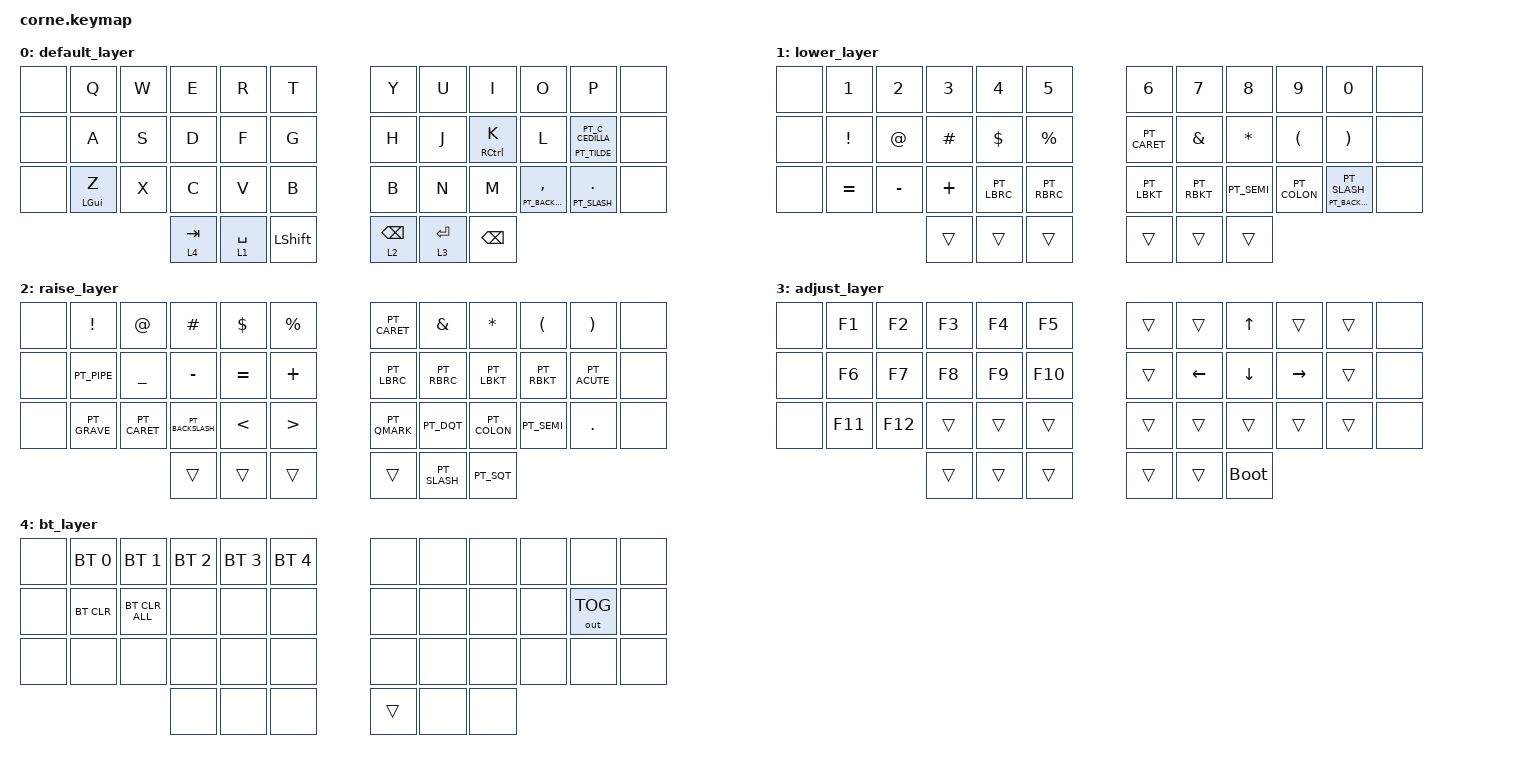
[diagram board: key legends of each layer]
/*
 * Copyright (c) 2020 The ZMK Contributors
 * SPDX-License-Identifier: MIT
 *
 * CORNE / SKELETYL — PT-BR ABNT2 KEYMAP
 *
 * Physical layout : 3×5+3 split, 42 keys
 * OS layout       : PT-BR ABNT2  (must be selected in OS settings)
 *
 * ┌──────────────────────────────────────────────────────────────┐
 * │  Layer map                                                   │
 * │    0  Base   QWERTY · home-row mods · ç on right pinky      │
 * │    1  Num    numbers · shifted symbols · { } [ ]            │
 * │    2  Sym    operators · PT-BR dead keys                     │
 * │    3  Fn     F1-F12 · arrows · bootloader                    │
 * │    4  BT     Bluetooth select · output toggle                │
 * ├──────────────────────────────────────────────────────────────┤
 * │  PT-BR dead keys  (Sym layer = hold BKSP)                    │
 * │    ]  position  →  ´ dead acute     á é í ó ú              │
 * │    `  position  →  ` dead grave     à                       │
 * │    ~  position  →  ^ dead circ      â ê ô                   │
 * │    Ç  hold      →  ~ dead tilde     ã õ   (base layer)      │
 * ├──────────────────────────────────────────────────────────────┤
 * │  Key grid (combo position reference)                         │
 * │   Row 0:  Q=1  W=2  E=3  R=4  T=5    Y=6  U=7  I=8  O=9  P=10  │
 * │   Row 1:  A=13 S=14 D=15 F=16 G=17   H=18 J=19 K=20 L=21 Ç=22  │
 * │   Row 2:  Z=25 X=26 C=27 V=28 B=29   B=30 N=31 M=32 ,=33 .=34  │
 * │   Thumb:  TAB=36 SPC=37 SFT=38        BSP=39 ENT=40 BSP=41      │
 * └──────────────────────────────────────────────────────────────┘
 */

#include <behaviors.dtsi>
#include <dt-bindings/zmk/bt.h>
#include <dt-bindings/zmk/keys.h>
#include <dt-bindings/zmk/outputs.h>
#include "keys_pt_abnt2.h"

/ {
    /* ─────────────────────────────────────────────────────────────
     * BEHAVIORS
     * ───────────────────────────────────────────────────────────── */

    behaviors {

        /* tap = character  ·  hold = modifier */
        hm: homerow_mods {
            compatible = "zmk,behavior-hold-tap";
            label = "HOMEROW_MODS";
            #binding-cells = <2>;
            tapping-term-ms = <200>;
            quick-tap-ms = <175>;
            flavor = "tap-preferred";
            bindings = <&kp>, <&kp>;
        };

        /* single tap = (  ·  double tap = ) */
        td_paren: tap_dance_paren {
            compatible = "zmk,behavior-tap-dance";
            label = "TAP_DANCE_PAREN";
            #binding-cells = <0>;
            tapping-term-ms = <200>;
            bindings = <&kp LPAR>, <&kp RPAR>;
        };

        /* single tap = [  ·  double tap = ] */
        td_bkt: tap_dance_bracket {
            compatible = "zmk,behavior-tap-dance";
            label = "TAP_DANCE_BRACKET";
            #binding-cells = <0>;
            tapping-term-ms = <200>;
            bindings = <&kp PT_LBKT>, <&kp PT_RBKT>;
        };

        /* single tap = {  ·  double tap = } */
        td_brc: tap_dance_brace {
            compatible = "zmk,behavior-tap-dance";
            label = "TAP_DANCE_BRACE";
            #binding-cells = <0>;
            tapping-term-ms = <200>;
            bindings = <&kp PT_LBRC>, <&kp PT_RBRC>;
        };
    };

    /* ─────────────────────────────────────────────────────────────
     * COMBOS
     *   Q+W  (1+2)   → Esc
     *   P+Ç  (10+22) → Delete
     *   Q+A  (12+13) → Caps Lock
     * ───────────────────────────────────────────────────────────── */

    combos {
        compatible = "zmk,combos";

        esc {
            bindings = <&kp ESC>;
            key-positions = <1 2>;
        };

        del {
            bindings = <&kp DELETE>;
            key-positions = <10 22>;
        };

        caps {
            bindings = <&kp CAPS>;
            key-positions = <12 13>;
        };
    };

    /* ─────────────────────────────────────────────────────────────
     * KEYMAP
     * ───────────────────────────────────────────────────────────── */

    keymap {
        compatible = "zmk,keymap";

        /* ══════════════════════════════════════════════════════════
         * LAYER 0 — BASE
         *
         *  Q    W    E    R    T  │  Y    U    I    O    P
         *  A    S    D    F    G  │  H    J  K/Ctl  L   Ç/~
         *  Z    X    C    V    B  │  B    N    M   ,/\  .//
         *  Z hold → GUI              Ç hold → ~ dead tilde (ã õ)
         *
         *       [4]  [1]  SFT  │  [2]  [3]  BSP
         *       TAB  SPC       │  BSP  ENT
         * ══════════════════════════════════════════════════════════ */

        default_layer {
            bindings = <
&none  &kp Q           &kp W  &kp E      &kp R        &kp T             &kp Y            &kp U        &kp I                  &kp O                   &kp P                      &none
&none  &kp A           &kp S  &kp D      &kp F        &kp G             &kp H            &kp J        &hm RIGHT_CONTROL K    &kp L                   &hm PT_TILDE PT_C_CEDILLA  &none
&none  &hm LEFT_GUI Z  &kp X  &kp C      &kp V        &kp B             &kp B            &kp N        &kp M                  &hm PT_BACKSLASH COMMA  &hm PT_SLASH PERIOD        &none
                              &lt 4 TAB  &lt 1 SPACE  &kp LEFT_SHIFT    &lt 2 BACKSPACE  &lt 3 ENTER  &kp BACKSPACE
            >;
        };

        /* ══════════════════════════════════════════════════════════
         * LAYER 1 — NUMBERS  (hold SPC)
         *
         *  1    2    3    4    5  │  6    7    8    9    0
         *  !    @    #    $    %  │  ^    &    *    (    )
         *  =    -    +    {    }  │  [    ]    ;    :   \/
         *       ___  ___  ___  │  ___  ___  ___
         *
         * All symbol keycodes use PT_* for correct ABNT2 output.
         * ══════════════════════════════════════════════════════════ */

        lower_layer {
            bindings = <
&none  &kp N1           &kp N2     &kp N3    &kp N4       &kp N5       &kp N6           &kp N7         &kp N8        &kp N9                &kp N0                 &none
&none  &kp EXCLAMATION  &kp AT     &kp HASH  &kp DOLLAR   &kp PERCENT  &kp PT_CARET     &kp AMPERSAND  &kp ASTERISK  &kp LEFT_PARENTHESIS  &kp RIGHT_PARENTHESIS  &none
&none  &kp EQUAL        &kp MINUS  &kp PLUS  &kp PT_LBRC  &kp PT_RBRC  &kp PT_LBKT      &kp PT_RBKT    &kp PT_SEMI   &kp PT_COLON          &hm PT_BACKSLASH PT_SLASH  &none
                                   &trans    &trans       &trans       &trans           &trans         &trans
            >;
        };

        /* ══════════════════════════════════════════════════════════
         * LAYER 2 — SYMBOLS  (hold BKSP)
         *
         *  !    @    #    $    %  │  ^    &    *    (    )
         *  |    _    -    =    +  │  {    }    [    ]    ´
         *  `    ^    \    <    >  │  ?    "    :    ;    .
         *                         │       /    '
         *
         * PT-BR dead keys:
         *   ´  dead acute  (row 1 last)  →  á é í ó ú
         *   `  dead grave  (row 2 first) →  à
         *   ^  dead circ   (row 2 + top) →  â ê ô
         *   ~  dead tilde  (base hold)   →  ã õ
         * ══════════════════════════════════════════════════════════ */

        raise_layer {
            bindings = <
&none  &kp EXCL       &kp AT       &kp HASH          &kp DLLR   &kp PRCNT    &kp PT_CARET  &kp AMPS      &kp ASTRK     &kp LPAR     &kp RPAR      &none
&none  &kp PT_PIPE    &kp UNDER    &kp MINUS         &kp EQUAL  &kp PLUS     &kp PT_LBRC   &kp PT_RBRC   &kp PT_LBKT   &kp PT_RBKT  &kp PT_ACUTE  &none
&none  &kp PT_GRAVE   &kp PT_CARET &kp PT_BACKSLASH  &kp LT     &kp GT       &kp PT_QMARK  &kp PT_DQT    &kp PT_COLON  &kp PT_SEMI  &kp DOT       &none
                                   &trans            &trans     &trans       &trans        &kp PT_SLASH  &kp PT_SQT
            >;
        };

        /* ══════════════════════════════════════════════════════════
         * LAYER 3 — FUNCTION KEYS  (hold ENT)
         *
         *  F1   F2   F3   F4   F5  │  _    _    ↑    _    _
         *  F6   F7   F8   F9  F10  │  _    ←    ↓    →    _
         * F11  F12   _    _    _   │  _    _    _    _    _
         *             _    _    _  │  _    _   BOOT
         * ══════════════════════════════════════════════════════════ */

        adjust_layer {
            bindings = <
&none  &kp F1   &kp F2   &kp F3  &kp F4  &kp F5    &trans  &trans          &kp UP_ARROW    &trans      &trans  &none
&none  &kp F6   &kp F7   &kp F8  &kp F9  &kp F10   &trans  &kp LEFT_ARROW  &kp DOWN_ARROW  &kp RIGHT   &trans  &none
&none  &kp F11  &kp F12  &trans  &trans  &trans    &trans  &trans          &trans          &trans      &trans  &none
                         &trans  &trans  &trans    &trans  &trans          &bootloader
            >;
        };

        /* ══════════════════════════════════════════════════════════
         * LAYER 4 — BLUETOOTH  (hold TAB)
         *
         * BT0  BT1  BT2  BT3  BT4  │  _    _    _    _    _
         * CLR  ALL   _    _    _   │  _    _    _    _   OUT
         *  _    _    _    _    _   │  _    _    _    _    _
         *             ×    ×    ×  │  _    ×    ×
         * ══════════════════════════════════════════════════════════ */

        bt_layer {
            bindings = <
&none  &bt BT_SEL 0  &bt BT_SEL 1    &bt BT_SEL 2  &bt BT_SEL 3  &bt BT_SEL 4    &none   &none  &none  &none  &none         &none
&none  &bt BT_CLR    &bt BT_CLR_ALL  &none         &none         &none           &none   &none  &none  &none  &out OUT_TOG  &none
&none  &none         &none           &none         &none         &none           &none   &none  &none  &none  &none         &none
                                     &none         &none         &none           &trans  &none  &none
            >;
        };
    };
};
